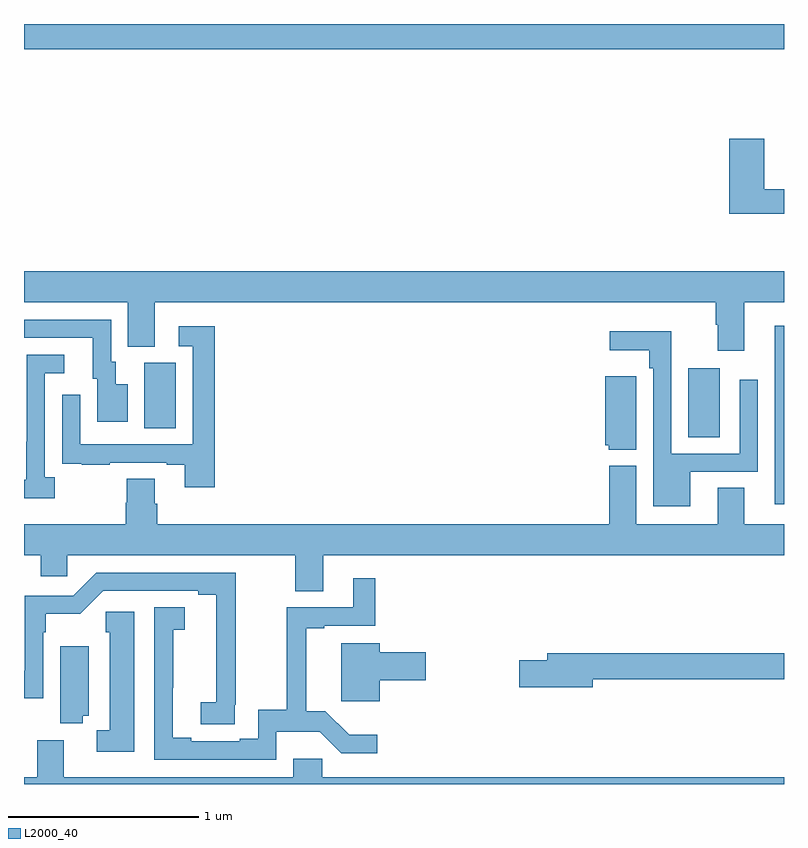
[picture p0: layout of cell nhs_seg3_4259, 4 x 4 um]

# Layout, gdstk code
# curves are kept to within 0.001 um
import gdstk
lib = gdstk.Library(unit=1e-6, precision=1e-09)
def R(c, l, rs):  # rectangles x0, y0, x1, y1
    for r in rs: c.add(gdstk.rectangle(r[:2], r[2:], *l))
def P(c, l, *ps):  # polygons
    for p in ps: c.add(gdstk.Polygon(p, *l))
L2000_40 = (2000, 40)

nhs_seg3_4259 = lib.new_cell('nhs_seg3_4259')
R(nhs_seg3_4259, L2000_40, [(340.952,679.872,341,680.812), (340.496,680.224,340.663,680.587), (337.634,680.272,337.798,680.616), (337,682.268,341,682.4)])
P(nhs_seg3_4259, L2000_40, [(341,681.53),(340.895,681.53),(340.895,681.796),(340.712,681.796),(340.712,681.402),(341,681.402)],
  [(340.792,680.936),(341,680.936),(341,681.1),(337,681.1),(337,680.936),(337.547,680.936),(337.547,680.701),(337.687,680.701),(337.687,680.936),(340.64,680.936),(340.64,680.816),(340.652,680.816),(340.652,680.679),(340.792,680.679)],
  [(337.546,680.503),(337.483,680.503),(337.483,680.622),(337.458,680.622),(337.458,680.844),(337,680.844),(337,680.748),(337.361,680.748),(337.361,680.532),(337.385,680.532),(337.385,680.307),(337.546,680.307)],
  [(338.003,680.809),(337.815,680.809),(337.815,680.703),(337.887,680.703),(337.887,680.187),(337.296,680.187),(337.296,680.449),(337.2,680.449),(337.2,680.194),(337.201,680.194),(337.201,680.085),(337.303,680.085),(337.303,680.079),(337.451,680.079),(337.451,680.091),(337.751,680.091),(337.751,680.079),(337.847,680.079),(337.847,679.962),(338.003,679.962)],
  [(340.507,680.043),(340.863,680.043),(340.863,680.527),(340.767,680.527),(340.767,680.139),(340.407,680.139),(340.407,680.782),(340.083,680.782),(340.083,680.684),(340.291,680.684),(340.291,680.588),(340.311,680.588),(340.311,679.862),(340.507,679.862)],
  [(337.162,680.014),(337.11,680.014),(337.11,680.562),(337.213,680.562),(337.213,680.658),(337.014,680.658),(337.014,680.201),(337.013,680.201),(337.013,680.001),(337,680.001),(337,679.904),(337.162,679.904)],
  [(340.222,680.545),(340.058,680.545),(340.058,680.184),(340.077,680.184),(340.077,680.159),(340.222,680.159)],
  [(338.575,679.604),(341,679.604),(341,679.768),(340.792,679.768),(340.792,679.958),(340.652,679.958),(340.652,679.768),(340.222,679.768),(340.222,680.074),(340.079,680.074),(340.079,679.768),(337.7,679.768),(337.7,679.874),(337.687,679.874),(337.687,680.006),(337.54,680.006),(337.54,679.881),(337.535,679.881),(337.535,679.768),(337,679.768),(337,679.604),(337.088,679.604),(337.088,679.494),(337.227,679.494),(337.227,679.604),(338.428,679.604),(338.428,679.414),(338.575,679.414)],
  [(338.108,678.817),(338.114,678.817),(338.114,679.512),(337.38,679.512),(337.26,679.392),(337.005,679.392),(337.005,678.996),(337,678.996),(337,678.852),(337.101,678.852),(337.101,679.199),(337.114,679.199),(337.114,679.295),(337.295,679.295),(337.416,679.416),(337.916,679.416),(337.916,679.396),(338.012,679.396),(338.011,678.83),(337.929,678.83),(337.929,678.715),(338.108,678.715)],
  [(338.328,678.674),(338.557,678.674),(338.67,678.561),(338.86,678.561),(338.86,678.658),(338.711,678.658),(338.585,678.784),(338.486,678.784),(338.486,679.221),(338.581,679.221),(338.581,679.233),(338.849,679.233),(338.849,679.483),(338.732,679.483),(338.732,679.329),(338.383,679.329),(338.383,678.791),(338.232,678.791),(338.232,678.638),(338.135,678.638),(338.135,678.624),(337.879,678.624),(337.879,678.644),(337.783,678.644),(337.783,678.907),(337.785,678.907),(337.785,679.211),(337.846,679.211),(337.846,679.331),(337.686,679.331),(337.686,678.528),(338.328,678.528)],
  [(337.579,679.306),(337.429,679.306),(337.429,679.2),(337.451,679.2),(337.451,678.684),(337.383,678.684),(337.383,678.569),(337.579,678.569)],
  [(338.872,678.947),(339.115,678.947),(339.115,679.094),(338.872,679.094),(338.872,679.141),(338.669,679.141),(338.669,678.836),(338.872,678.836)],
  [(337.31,678.758),(337.342,678.758),(337.342,679.126),(337.19,679.126),(337.19,678.721),(337.31,678.721)],
  [(339.994,678.952),(341,678.952),(341,679.088),(339.755,679.088),(339.755,679.052),(339.606,679.052),(339.606,678.91),(339.994,678.91)],
  [(341,678.436),(338.569,678.436),(338.569,678.534),(338.417,678.534),(338.417,678.436),(337.21,678.436),(337.21,678.631),(337.07,678.631),(337.07,678.436),(337,678.436),(337,678.4),(341,678.4)])

lib.write_gds('nhs_seg3_4259.gds')
